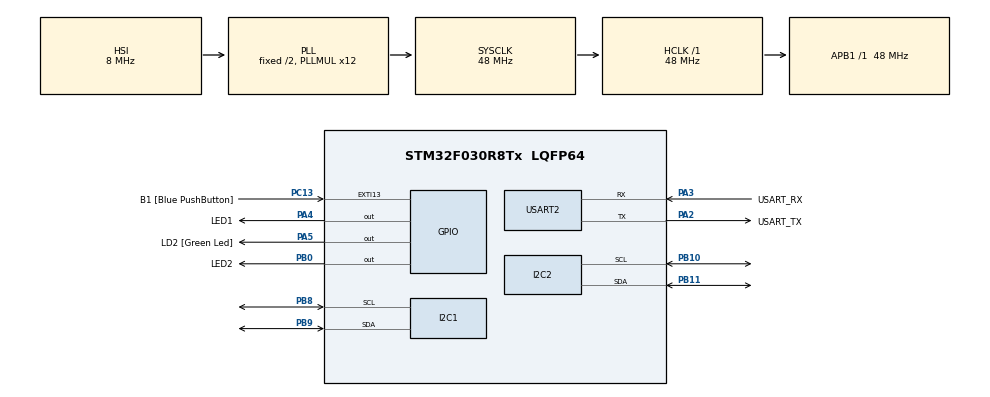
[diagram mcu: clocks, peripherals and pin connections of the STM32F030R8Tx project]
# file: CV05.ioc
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Dma.Request0=USART2_RX
Dma.USART2_RX.0.Direction=DMA_PERIPH_TO_MEMORY
Dma.USART2_RX.0.Instance=DMA1_Channel5
Dma.USART2_RX.0.MemDataAlignment=DMA_MDATAALIGN_BYTE
Dma.USART2_RX.0.MemInc=DMA_MINC_ENABLE
Dma.USART2_RX.0.Mode=DMA_CIRCULAR
Dma.USART2_RX.0.PeriphDataAlignment=DMA_PDATAALIGN_BYTE
Dma.USART2_RX.0.PeriphInc=DMA_PINC_DISABLE
Dma.USART2_RX.0.Priority=DMA_PRIORITY_LOW
I2C1.Timing=0x00201D2B
I2C2.Timing=0x10805D88
Mcu.Family=STM32F0
Mcu.Name=STM32F030R8Tx
Mcu.Package=LQFP64
NVIC.DMA1_Channel4_5_IRQn=true\:0\:0\:false\:false\:true\:false\:true\:true
PA13.GPIO_Label=TMS
PA13.Mode=Serial_Wire
PA13.Signal=SYS_SWDIO
PA14.GPIO_Label=TCK
PA14.Mode=Serial_Wire
PA14.Signal=SYS_SWCLK
PA2.GPIO_Label=USART_TX
PA2.GPIO_Mode=GPIO_MODE_AF_PP
PA2.GPIO_PuPd=GPIO_NOPULL
PA2.GPIO_Speed=GPIO_SPEED_FREQ_LOW
PA2.Mode=Asynchronous
PA2.Signal=USART2_TX
PA3.GPIO_Label=USART_RX
PA3.GPIO_Mode=GPIO_MODE_AF_PP
PA3.GPIO_PuPd=GPIO_NOPULL
PA3.GPIO_Speed=GPIO_SPEED_FREQ_LOW
PA3.Mode=Asynchronous
PA3.Signal=USART2_RX
PA4.GPIO_Label=LED1
PA4.Signal=GPIO_Output
PA5.GPIO_Label=LD2 [Green Led]
PA5.GPIO_Mode=GPIO_MODE_OUTPUT_PP
PA5.GPIO_PuPd=GPIO_NOPULL
PA5.GPIO_Speed=GPIO_SPEED_FREQ_LOW
PA5.Signal=GPIO_Output
PB0.GPIO_Label=LED2
PB0.Signal=GPIO_Output
PB10.Mode=I2C
PB10.Signal=I2C2_SCL
PB11.Mode=I2C
PB11.Signal=I2C2_SDA
PB8.Mode=I2C
PB8.Signal=I2C1_SCL
PB9.Mode=I2C
PB9.Signal=I2C1_SDA
PC13.GPIO_Label=B1 [Blue PushButton]
PC13.GPIO_ModeDefaultEXTI=GPIO_MODE_IT_FALLING
PC13.Signal=GPXTI13
PC14-OSC32_IN.Mode=LSE-External-Oscillator
PC14-OSC32_IN.Signal=RCC_OSC32_IN
PC15-OSC32_OUT.Mode=LSE-External-Oscillator
PC15-OSC32_OUT.Signal=RCC_OSC32_OUT
PF0-OSC_IN.Mode=HSE-External-Clock-Source
PF0-OSC_IN.Signal=RCC_OSC_IN
PF1-OSC_OUT.Signal=RCC_OSC_OUT
ProjectManager.HeapSize=0x200
ProjectManager.StackSize=0x400
ProjectManager.TargetToolchain=STM32CubeIDE
RCC.AHBFreq_Value=48000000
RCC.APB1Freq_Value=48000000
RCC.APB1TimFreq_Value=48000000
RCC.HCLKFreq_Value=48000000
RCC.PLLMUL=RCC_PLL_MUL12
RCC.SYSCLKFreq_VALUE=48000000
RCC.SYSCLKSource=RCC_SYSCLKSOURCE_PLLCLK
USART2.VirtualMode-Asynchronous=VM_ASYNC
board=NUCLEO-F030R8

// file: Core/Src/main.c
/* USER CODE BEGIN Header */
/**
  ******************************************************************************
  * @file           : main.c
  * @brief          : Main program body
  ******************************************************************************
  * @attention
  *
  * Copyright (c) 2024 STMicroelectronics.
  * All rights reserved.
  *
  * This software is licensed under terms that can be found in the LICENSE file
  * in the root directory of this software component.
  * If no LICENSE file comes with this software, it is provided AS-IS.
  *
  ******************************************************************************
  */
/* USER CODE END Header */
#include "main.h"

/* USER CODE BEGIN Includes */
#include <stdio.h>
#include <string.h>
#include <stdlib.h>
/* USER CODE END Includes */

/* USER CODE BEGIN PD */
#define RX_BUFFER_LEN 64
static uint8_t uart_rx_buf[RX_BUFFER_LEN];
static volatile uint16_t uart_rx_read_ptr = 0;
#define uart_rx_write_ptr (RX_BUFFER_LEN - hdma_usart2_rx.Instance->CNDTR)
#define CMD_BUFFER_LEN 256
#define EEPROM_ADDR 0xA0
/* USER CODE END PD */

I2C_HandleTypeDef hi2c1;
I2C_HandleTypeDef hi2c2;

UART_HandleTypeDef huart2;
DMA_HandleTypeDef hdma_usart2_rx;

void SystemClock_Config(void);
static void MX_GPIO_Init(void);
static void MX_DMA_Init(void);
static void MX_USART2_UART_Init(void);
static void MX_I2C1_Init(void);
static void MX_I2C2_Init(void);

/* USER CODE BEGIN 0 */

void uart_process_command(char* cmd)
{
	//printf("received: '%s'\n", cmd);

	uint8_t value;
	uint16_t addr;
	uint8_t dump[16];
	char *token;
	token = strtok(cmd, " ");

	if (strcasecmp(token, "HELLO") == 0) {
		printf("Communication OK\n");
	}

	else if (strcasecmp(token, "LED1") == 0) {
		token = strtok(NULL, " ");
		if (strcasecmp(token, "ON") == 0)
		{
			HAL_GPIO_WritePin(LED1_GPIO_Port, LED1_Pin, 1);
			printf("OK\n");
		}
		else if (strcasecmp(token, "OFF") == 0)
		{
			HAL_GPIO_WritePin(LED1_GPIO_Port, LED1_Pin, 0);
			printf("OK\n");
		}
	}

	else if (strcasecmp(token, "LED2") == 0)
	{
		token = strtok(NULL, " ");
		if (strcasecmp(token, "ON") == 0)
		{
			HAL_GPIO_WritePin(LED2_GPIO_Port, LED2_Pin, 1);
			printf("OK\n");
		}
		else if (strcasecmp(token, "OFF") == 0)
		{
			HAL_GPIO_WritePin(LED2_GPIO_Port, LED2_Pin, 0);
			printf("OK\n");
		}
	}

	else if (strcasecmp(token, "STATUS") == 0)
	{
		token = strtok(NULL, " ");
		if (HAL_GPIO_ReadPin(LED1_GPIO_Port, LED1_Pin) == 1)
		{
			printf("LED1 ON\n");
		}
		else
			printf("LED1 OFF\n");

		if (HAL_GPIO_ReadPin(LED2_GPIO_Port, LED2_Pin) == 1)
		{
			printf("LED2 ON\n");
		}
		else
			printf("LED2 OFF\n");
	}

	else if (strcasecmp(token, "READ") == 0)
	{
		token = strtok(NULL, " ");
		addr = atoi(token);
		HAL_I2C_Mem_Read(&hi2c1, EEPROM_ADDR, addr, I2C_MEMADD_SIZE_16BIT, &value, 1, 1000);
		printf("Read 0x000%x = 0x%x\n",addr,value);
		printf("OK\n");
	}

	else if (strcasecmp(token, "WRITE") == 0)
	{
		token = strtok(NULL, " ");
		addr = atoi(token);
		token = strtok(NULL, " ");
		value = atoi(token);
		HAL_I2C_Mem_Write(&hi2c1, EEPROM_ADDR, addr, I2C_MEMADD_SIZE_16BIT, &value, 1, 1000);
		while (HAL_I2C_IsDeviceReady(&hi2c1, EEPROM_ADDR, 300, 1000) == HAL_TIMEOUT) {}

		printf("OK\n");
	}

	else if (strcasecmp(token, "DUMP") == 0)
	{
		HAL_I2C_Mem_Read(&hi2c1, EEPROM_ADDR, 0, I2C_MEMADD_SIZE_16BIT, dump, 16, 1000);
		for(uint8_t i = 0; i < 16; i++){
			printf("%02x ",dump[i]);
			if (i == 7)
			{
				printf("\n");
			}
			else if (i == 15)
			{
				printf("\n");
			}
		}
	}
}

int _write(int file, char const *buf, int n)
{
	/* stdout redirection to UART2 */
	HAL_UART_Transmit(&huart2, (uint8_t*)(buf), n, HAL_MAX_DELAY);
	return n;
}

static void uart_byte_available(uint8_t c)
{
	static uint16_t cnt;
	static char data[CMD_BUFFER_LEN];
	if (cnt < CMD_BUFFER_LEN && c >= 32 && c <= 126) data[cnt++] = c;
	if ((c == '\n' || c == '\r') && cnt > 0)
	{
		data[cnt] = '\0';
		uart_process_command(data);
		cnt = 0;
	}
}
/* USER CODE END 0 */

int main(void)
{

  /* MCU Configuration--------------------------------------------------------*/

  /* Reset of all peripherals, Initializes the Flash interface and the Systick. */
  HAL_Init();

  /* Configure the system clock */
  SystemClock_Config();

  /* Initialize all configured peripherals */
  MX_GPIO_Init();
  MX_DMA_Init();
  MX_USART2_UART_Init();
  MX_I2C1_Init();
  MX_I2C2_Init();
  /* USER CODE BEGIN 2 */
  HAL_UART_Receive_DMA(&huart2, uart_rx_buf, RX_BUFFER_LEN);

  /* USER CODE END 2 */

  /* Infinite loop */
  while (1)
  {

    /* USER CODE BEGIN 3 */
	  while (uart_rx_read_ptr != uart_rx_write_ptr)
	  {
		  uint8_t b = uart_rx_buf[uart_rx_read_ptr];
		  // increase read pointer
		  if (++uart_rx_read_ptr >= RX_BUFFER_LEN) uart_rx_read_ptr = 0;
		  // process every received byte with the RX state machine
		  uart_byte_available(b);
	  }
  }
  /* USER CODE END 3 */
}

void SystemClock_Config(void)
{
  RCC_OscInitTypeDef RCC_OscInitStruct = {0};
  RCC_ClkInitTypeDef RCC_ClkInitStruct = {0};
  RCC_PeriphCLKInitTypeDef PeriphClkInit = {0};

  /** Initializes the RCC Oscillators according to the specified parameters
  * in the RCC_OscInitTypeDef structure.
  */
  RCC_OscInitStruct.OscillatorType = RCC_OSCILLATORTYPE_HSI;
  RCC_OscInitStruct.HSIState = RCC_HSI_ON;
  RCC_OscInitStruct.HSICalibrationValue = RCC_HSICALIBRATION_DEFAULT;
  RCC_OscInitStruct.PLL.PLLState = RCC_PLL_ON;
  RCC_OscInitStruct.PLL.PLLSource = RCC_PLLSOURCE_HSI;
  RCC_OscInitStruct.PLL.PLLMUL = RCC_PLL_MUL12;
  RCC_OscInitStruct.PLL.PREDIV = RCC_PREDIV_DIV1;
  if (HAL_RCC_OscConfig(&RCC_OscInitStruct) != HAL_OK)
  {
    Error_Handler();
  }

  /** Initializes the CPU, AHB and APB buses clocks
  */
  RCC_ClkInitStruct.ClockType = RCC_CLOCKTYPE_HCLK|RCC_CLOCKTYPE_SYSCLK
                              |RCC_CLOCKTYPE_PCLK1;
  RCC_ClkInitStruct.SYSCLKSource = RCC_SYSCLKSOURCE_PLLCLK;
  RCC_ClkInitStruct.AHBCLKDivider = RCC_SYSCLK_DIV1;
  RCC_ClkInitStruct.APB1CLKDivider = RCC_HCLK_DIV1;

  if (HAL_RCC_ClockConfig(&RCC_ClkInitStruct, FLASH_LATENCY_1) != HAL_OK)
  {
    Error_Handler();
  }
  PeriphClkInit.PeriphClockSelection = RCC_PERIPHCLK_I2C1;
  PeriphClkInit.I2c1ClockSelection = RCC_I2C1CLKSOURCE_HSI;
  if (HAL_RCCEx_PeriphCLKConfig(&PeriphClkInit) != HAL_OK)
  {
    Error_Handler();
  }
}

static void MX_I2C1_Init(void)
{

  hi2c1.Instance = I2C1;
  hi2c1.Init.Timing = 0x00201D2B;
  hi2c1.Init.OwnAddress1 = 0;
  hi2c1.Init.AddressingMode = I2C_ADDRESSINGMODE_7BIT;
  hi2c1.Init.DualAddressMode = I2C_DUALADDRESS_DISABLE;
  hi2c1.Init.OwnAddress2 = 0;
  hi2c1.Init.OwnAddress2Masks = I2C_OA2_NOMASK;
  hi2c1.Init.GeneralCallMode = I2C_GENERALCALL_DISABLE;
  hi2c1.Init.NoStretchMode = I2C_NOSTRETCH_DISABLE;
  if (HAL_I2C_Init(&hi2c1) != HAL_OK)
  {
    Error_Handler();
  }

  /** Configure Analogue filter
  */
  if (HAL_I2CEx_ConfigAnalogFilter(&hi2c1, I2C_ANALOGFILTER_ENABLE) != HAL_OK)
  {
    Error_Handler();
  }

  /** Configure Digital filter
  */
  if (HAL_I2CEx_ConfigDigitalFilter(&hi2c1, 0) != HAL_OK)
  {
    Error_Handler();
  }

}

static void MX_I2C2_Init(void)
{

  hi2c2.Instance = I2C2;
  hi2c2.Init.Timing = 0x10805D88;
  hi2c2.Init.OwnAddress1 = 0;
  hi2c2.Init.AddressingMode = I2C_ADDRESSINGMODE_7BIT;
  hi2c2.Init.DualAddressMode = I2C_DUALADDRESS_DISABLE;
  hi2c2.Init.OwnAddress2 = 0;
  hi2c2.Init.OwnAddress2Masks = I2C_OA2_NOMASK;
  hi2c2.Init.GeneralCallMode = I2C_GENERALCALL_DISABLE;
  hi2c2.Init.NoStretchMode = I2C_NOSTRETCH_DISABLE;
  if (HAL_I2C_Init(&hi2c2) != HAL_OK)
  {
    Error_Handler();
  }

  /** Configure Analogue filter
  */
  if (HAL_I2CEx_ConfigAnalogFilter(&hi2c2, I2C_ANALOGFILTER_ENABLE) != HAL_OK)
  {
    Error_Handler();
  }

  /** Configure Digital filter
  */
  if (HAL_I2CEx_ConfigDigitalFilter(&hi2c2, 0) != HAL_OK)
  {
    Error_Handler();
  }

}

static void MX_USART2_UART_Init(void)
{

  huart2.Instance = USART2;
  huart2.Init.BaudRate = 38400;
  huart2.Init.WordLength = UART_WORDLENGTH_8B;
  huart2.Init.StopBits = UART_STOPBITS_1;
  huart2.Init.Parity = UART_PARITY_NONE;
  huart2.Init.Mode = UART_MODE_TX_RX;
  huart2.Init.HwFlowCtl = UART_HWCONTROL_NONE;
  huart2.Init.OverSampling = UART_OVERSAMPLING_16;
  huart2.Init.OneBitSampling = UART_ONE_BIT_SAMPLE_DISABLE;
  huart2.AdvancedInit.AdvFeatureInit = UART_ADVFEATURE_NO_INIT;
  if (HAL_UART_Init(&huart2) != HAL_OK)
  {
    Error_Handler();
  }

}

static void MX_DMA_Init(void)
{

  /* DMA controller clock enable */
  __HAL_RCC_DMA1_CLK_ENABLE();

  /* DMA interrupt init */
  /* DMA1_Channel4_5_IRQn interrupt configuration */
  HAL_NVIC_SetPriority(DMA1_Channel4_5_IRQn, 0, 0);
  HAL_NVIC_EnableIRQ(DMA1_Channel4_5_IRQn);

}

static void MX_GPIO_Init(void)
{
  GPIO_InitTypeDef GPIO_InitStruct = {0};

  /* GPIO Ports Clock Enable */
  __HAL_RCC_GPIOC_CLK_ENABLE();
  __HAL_RCC_GPIOF_CLK_ENABLE();
  __HAL_RCC_GPIOA_CLK_ENABLE();
  __HAL_RCC_GPIOB_CLK_ENABLE();

  /*Configure GPIO pin Output Level */
  HAL_GPIO_WritePin(GPIOA, LED1_Pin|LD2_Pin, GPIO_PIN_RESET);

  /*Configure GPIO pin Output Level */
  HAL_GPIO_WritePin(LED2_GPIO_Port, LED2_Pin, GPIO_PIN_RESET);

  /*Configure GPIO pin : B1_Pin */
  GPIO_InitStruct.Pin = B1_Pin;
  GPIO_InitStruct.Mode = GPIO_MODE_IT_FALLING;
  GPIO_InitStruct.Pull = GPIO_NOPULL;
  HAL_GPIO_Init(B1_GPIO_Port, &GPIO_InitStruct);

  /*Configure GPIO pins : LED1_Pin LD2_Pin */
  GPIO_InitStruct.Pin = LED1_Pin|LD2_Pin;
  GPIO_InitStruct.Mode = GPIO_MODE_OUTPUT_PP;
  GPIO_InitStruct.Pull = GPIO_NOPULL;
  GPIO_InitStruct.Speed = GPIO_SPEED_FREQ_LOW;
  HAL_GPIO_Init(GPIOA, &GPIO_InitStruct);

  /*Configure GPIO pin : LED2_Pin */
  GPIO_InitStruct.Pin = LED2_Pin;
  GPIO_InitStruct.Mode = GPIO_MODE_OUTPUT_PP;
  GPIO_InitStruct.Pull = GPIO_NOPULL;
  GPIO_InitStruct.Speed = GPIO_SPEED_FREQ_LOW;
  HAL_GPIO_Init(LED2_GPIO_Port, &GPIO_InitStruct);

}

void Error_Handler(void)
{
  __disable_irq();
  while (1)
  {
  }
}
